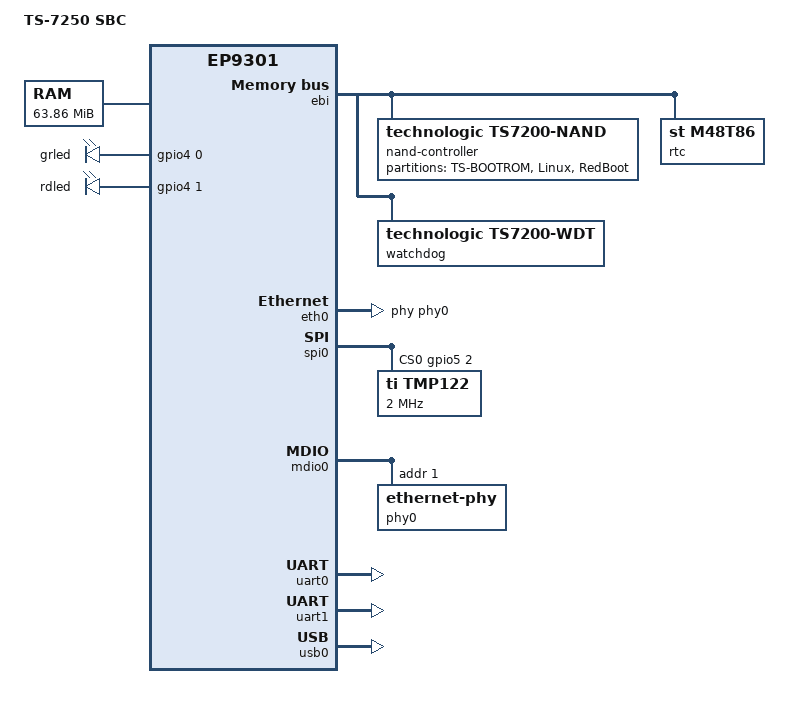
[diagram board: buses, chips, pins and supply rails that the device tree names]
// SPDX-License-Identifier: GPL-2.0
/*
 * Device Tree file for Technologic Systems ts7250 board based on Cirrus EP9302 SoC
 */
/dts-v1/;
#include "ep93xx.dtsi"

/ {
	compatible = "technologic,ts7250", "cirrus,ep9301";
	model = "TS-7250 SBC";
	#address-cells = <1>;
	#size-cells = <1>;

	chosen {
	};

	memory@0 {
		device_type = "memory";
		/* should be set from ATAGS */
		reg = <0x00000000 0x02000000>,
		      <0x000530c0 0x01fdd000>;
	};

	leds {
		compatible = "gpio-leds";
		led-0 {
			label = "grled";
			gpios = <&gpio4 0 GPIO_ACTIVE_HIGH>;
			linux,default-trigger = "heartbeat";
			function = LED_FUNCTION_HEARTBEAT;
		};

		led-1 {
			label = "rdled";
			gpios = <&gpio4 1 GPIO_ACTIVE_HIGH>;
			function = LED_FUNCTION_FAULT;
		};
	};
};

&ebi {
	nand-controller@60000000 {
		compatible = "technologic,ts7200-nand";
		reg = <0x60000000 0x8000000>;
		#address-cells = <1>;
		#size-cells = <0>;

		nand@0 {
			reg = <0>;
			partitions {
				compatible = "fixed-partitions";
				#address-cells = <1>;
				#size-cells = <1>;

				partition@0 {
					label = "TS-BOOTROM";
					reg = <0x00000000 0x00020000>;
					read-only;
				};

				partition@20000 {
					label = "Linux";
					reg = <0x00020000 0x07d00000>;
				};

				partition@7d20000 {
					label = "RedBoot";
					reg = <0x07d20000 0x002e0000>;
					read-only;
				};
			};
		};
	};

	rtc@10800000 {
		compatible = "st,m48t86";
		reg = <0x10800000 0x1>,
			<0x11700000 0x1>;
	};

	watchdog@23800000 {
		compatible = "technologic,ts7200-wdt";
		reg = <0x23800000 0x01>,
			<0x23c00000 0x01>;
		timeout-sec = <30>;
	};
};

&eth0 {
	phy-handle = <&phy0>;
};

&gpio1 {
	/* PWM */
	gpio-ranges = <&syscon 6 163 1>;
};

/* ts7250 doesn't have GPIO Port D present */
&gpio3 {
	status = "disabled";
};

&gpio4 {
	gpio-ranges = <&syscon 0 97 2>;
};

&gpio6 {
	gpio-ranges = <&syscon 0 87 2>;
};

&gpio7 {
	gpio-ranges = <&syscon 2 199 4>;
};

&spi0 {
	cs-gpios = <&gpio5 2 GPIO_ACTIVE_HIGH>;
	dmas = <&dma1 10 2>, <&dma1 10 1>;
	dma-names = "rx", "tx";
	status = "okay";

	tmp122: temperature-sensor@0 {
		compatible = "ti,tmp122";
		reg = <0>;
		spi-max-frequency = <2000000>;
	};
};

&mdio0 {
	phy0: ethernet-phy@1 {
		reg = <1>;
		device_type = "ethernet-phy";
	};
};

&uart0 {
	status = "okay";
};

&uart1 {
	status = "okay";
};

&usb0 {
	status = "okay";
};
